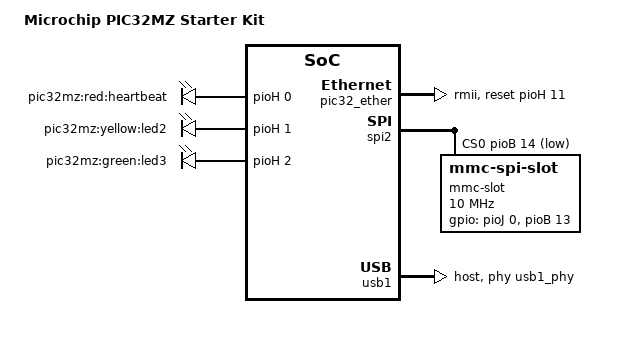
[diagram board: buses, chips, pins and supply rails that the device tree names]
/dts-v1/;
#include <dt-bindings/interrupt-controller/microchip,pic32mz-evic.h>

#include "pic32mz-clk.dtsi"
#include "pic32mz-timer.dtsi"
#include "pic32mz-pland-oc.dtsi"
#include "pic32mz-pland-pinctrl.dtsi"
#include "pic32mz-pland-uart.dtsi"
#include "pic32mz-pland-i2c.dtsi"
#include "pic32mz-pland-i2s.dtsi"

/ {
	#address-cells = <1>;
	#size-cells = <1>;
	compatible = "mti,pic32";
	model = "Microchip PIC32MZ Starter Kit";
	interrupt-parent = <&evic>;

	aliases {
		usb1 = &usb1;
		usb1_phy = &usb1_phy;
		spi1 = &spi1;
		spi2 = &spi2;
		spi7 = &sqi1;
	};

	cpus {
		cpu@0 {
			compatible = "mips,mips14KEc";
		};
	};

	chosen {
		bootargs = "console=ttyS1,115200n8";
	};

	evic: interrupt-controller@bf810000 {
		compatible = "microchip,evic-v2";
		interrupt-controller;
		#interrupt-cells = <3>;
		reg = <0xbf810000 0x1000>;
		device_type="evic-v2";
	};

	pwm_1 {
		compatible = "microchip,pic32-pwm";
		microchip,timer = <&PBTIMER23>; /* pbtimer phandle */
		microchip,ocmp = <&OCMP1>; /* ocmp phandle */
		pinctrl-names = "default";
		pinctrl-0 = <&pinctrl_oc1>;
		status = "ok";
	};

	pwm_2 {
		compatible = "microchip,pic32-pwm";
		microchip,timer = <&PBTIMER23>;
		microchip,ocmp = <&OCMP2>;
		pinctrl-names = "default";
		pinctrl-0 = <&pinctrl_oc2>;
		status = "ok";
	};

	pwm_3 {
		compatible = "microchip,pic32-pwm";
		microchip,timer = <&PBTIMER23>;
		microchip,ocmp = <&OCMP3>;
		pinctrl-names = "default";
		pinctrl-0 = <&pinctrl_oc3>;
		status = "ok";
	};

	pwm_4 {
		compatible = "microchip,pic32-pwm";
		microchip,timer = <&PBTIMER23>;
		microchip,ocmp = <&OCMP4>;
		pinctrl-names = "default";
		pinctrl-0 = <&pinctrl_oc4>;
		status = "ok";
	};

	pwm_5 {
		compatible = "microchip,pic32-pwm";
		microchip,timer = <&PBTIMER23>;
		microchip,ocmp = <&OCMP5>;
		pinctrl-names = "default";
		pinctrl-0 = <&pinctrl_oc5>;
		status = "ok";

	};

	pwm_6 {
		compatible = "microchip,pic32-pwm";
		microchip,timer = <&PBTIMER23>;
		microchip,ocmp = <&OCMP6>;
		pinctrl-names = "default";
		pinctrl-0 = <&pinctrl_oc6>;
		status = "disabled";
	};

	pwm_7 {
		compatible = "microchip,pic32-pwm";
		microchip,timer = <&PBTIMER23>;
		microchip,ocmp = <&OCMP7>;
		pinctrl-names = "default";
		pinctrl-0 = <&pinctrl_oc7>;
		status = "ok";
	};

	pwm_8 {
		compatible = "microchip,pic32-pwm";
		microchip,timer = <&PBTIMER23>;
		microchip,ocmp = <&OCMP8>;
		pinctrl-names = "default";
		pinctrl-0 = <&pinctrl_oc8>;
		status = "disabled";
	};

	pwm_9 {
		compatible = "microchip,pic32-pwm";
		microchip,timer = <&PBTIMER23>;
		microchip,ocmp = <&OCMP9>;
		pinctrl-names = "default";
		pinctrl-0 = <&pinctrl_oc9>;
		status = "disabled";
	};

	rtc0@bf800c00 {
		compatible = "microchip,pic32-rtc";
		reg = <0xbf800c00 0x60>;
		interrupts = <REAL_TIME_CLOCK DEFAULT_INT_PRI IRQ_TYPE_EDGE_RISING>;
		clocks = <&RTCCLK>;
	};

	pic32_ether: ethernet@bf882000 {
		compatible = "microchip,pic32-ether";
		reg = <0xbf882000 0x1000>;
		interrupts = <ETHERNET_INTERRUPT DEFAULT_INT_PRI IRQ_TYPE_LEVEL_HIGH>;
		phy-mode = "rmii";
		mac-address = [00 00 00 00 00 00];
		clock-names = "eth_clk";
		clocks = <&PBCLK5>;
		pinctrl-names = "default";
		pinctrl-0 = <&pinctrl_eth0>;
		reset-gpio = <&pioH 11 0>;
	};

	watchdog: wdt@bf800800 {
		compatible = "microchip,pic32-wdt";
		reg = <0xbf800800 0x200>;
		clocks = <&LPRC>;
	};

	watchdog2: dmt@bf800a00 {
		compatible = "microchip,pic32-dmt";
		reg = <0xbf800a00 0x80>;
		clocks = <&PBCLK7>;
	};

	dma: dma-controller@bf811000 {
		compatible = "microchip,pic32-dma";
		reg = <0xbf811000 0x2000>;
		interrupts = <DMA_CHANNEL_0 DEFAULT_INT_PRI IRQ_TYPE_EDGE_RISING>,
			<DMA_CHANNEL_1 DEFAULT_INT_PRI IRQ_TYPE_EDGE_RISING>,
			<DMA_CHANNEL_2 DEFAULT_INT_PRI IRQ_TYPE_EDGE_RISING>,
			<DMA_CHANNEL_3 DEFAULT_INT_PRI IRQ_TYPE_EDGE_RISING>,
			<DMA_CHANNEL_4 DEFAULT_INT_PRI IRQ_TYPE_EDGE_RISING>,
			<DMA_CHANNEL_5 DEFAULT_INT_PRI IRQ_TYPE_EDGE_RISING>,
			<DMA_CHANNEL_6 DEFAULT_INT_PRI IRQ_TYPE_EDGE_RISING>,
			<DMA_CHANNEL_7 DEFAULT_INT_PRI IRQ_TYPE_EDGE_RISING>;
		#dma-cells = <1>;
	};

	rng0: rng@bf8e6000 {
		compatible = "microchip,pic32-rng";
		reg = <0xbf8e6000 0x1000>;
		clocks = <&PBCLK5>;
	};

	sound0 {
		compatible = "microchip,snd-pic32-proto";

		microchip,cpu-dai = <&i2s1 &i2s1>;
		microchip,audio-codec = <&wm8731>;
		status = "ok";
	};

	sound1 {
		compatible = "microchip,snd-pic32-ak4953a";

		microchip,cpu-dai = <&i2s1 &i2s1>;
		microchip,audio-codec = <&ak4953a>;
		status = "disabled";
	};

	sqi1:sqi@0xbf8e2000 {
		#address-cells = <1>;
		#size-cells = <0>;
		compatible = "microchip,pic32-sqi";
		reg = <0xbf8e2000 0x200>;
		clocks = <&REFCLKO2>, <&PBCLK5>;
		clock-names = "spi_ck","reg_ck";
		interrupt-parent = <&evic>;
		interrupts = <SQI1_EVENT DEFAULT_INT_PRI IRQ_TYPE_LEVEL_HIGH>;
		pinctrl-names = "default";
		pinctrl-0 = <&pinctrl_sqi1>;
#if 0
		/* Michigan */
		microchip,sqi-v1;
#endif
		status = "disabled";

		quadflash:m25p80@0 {
			#address-cells = <1>;
			#size-cells = <0>;
			compatible = "sst26vf032b","m25p80";
			m25p,fast-read;
			spi-max-frequency = <25000000>;
			spi-rx-bus-width = <4>;
			spi-tx-bus-width = <4>;
			reg = <1>;
		};
	};

	spi1:spi@0xbf821000 {
		#address-cells = <1>;
		#size-cells = <0>;
		compatible = "microchip,pic32-spi";
		reg = <0xbf821000 0x200>;
		interrupt-parent = <&evic>;
		interrupts = <SPI1_FAULT DEFAULT_INT_PRI IRQ_TYPE_LEVEL_HIGH>,
			     <SPI1_RECEIVE_DONE DEFAULT_INT_PRI IRQ_TYPE_LEVEL_HIGH>,
			     <SPI1_TRANSFER_DONE DEFAULT_INT_PRI IRQ_TYPE_LEVEL_HIGH>;
		interrupt-names = "fault","rx","tx";
		pinctrl-names = "default";
		pinctrl-0 = <&pinctrl_spi1>;
		cs-gpios = <&pioD 4 0>; /* #gpio-cells = <2>, first cell is pin# and second one unused */
		clocks = <&PBCLK2>,<&REFCLKO1>;
		clock-names = "mck0","mck1";
	        dmas = <&dma DMA_CHANNEL_0>,
                       <&dma DMA_CHANNEL_1>;
                dma-names = "spi-rx", "spi-tx";
		status = "disabled";

		flash: m25p80@0 {
			#address-cells = <1>;
			#size-cells = <0>;
			compatible = "sst25vf064c","m25p80";
			spi-cpol;
			spi-cpha;
			spi-max-frequency = <25000000>;
			reg = <0>;
			m25p,fast-read;
			status = "disabled";
		};

		mmc-slot@0 {
			compatible = "mmc-spi-slot";
			reg = <0>;
			voltage-ranges = <3300 3300>;
			spi-max-frequency = <10000000>;
			gpios = <&pioJ 0 0 /* Card Detect */
				 &pioB 13 0 /* Write Protect*/
				>;
			status = "disabled";
		};
	};

	spi2:spi@0xbf821200 {
		#address-cells = <1>;
		#size-cells = <0>;
		compatible = "microchip,pic32-spi";
		reg = <0xbf821200 0x200>;
		interrupt-parent = <&evic>;
		interrupts = <SPI2_FAULT DEFAULT_INT_PRI IRQ_TYPE_LEVEL_HIGH>,
			     <SPI2_RECEIVE_DONE DEFAULT_INT_PRI IRQ_TYPE_LEVEL_HIGH>,
			     <SPI2_TRANSFER_DONE DEFAULT_INT_PRI IRQ_TYPE_LEVEL_HIGH>;
		interrupt-names = "fault","rx","tx";
		pinctrl-names = "default";
		pinctrl-0 = <&pinctrl_spi2>;
		cs-gpios = <&pioB 14 1>; /* #gpio-cells = <2>, first cell is pin# and second one unused */
		clocks = <&PBCLK2>,<&REFCLKO1>;
		clock-names = "mck0","mck1";
	        dmas = <&dma DMA_CHANNEL_2>,
                       <&dma DMA_CHANNEL_3>;
                dma-names = "spi-rx", "spi-tx";

		mmc-slot@0 {
			compatible = "mmc-spi-slot";
			reg = <0>;
			voltage-ranges = <3300 3300>;
			spi-max-frequency = <10000000>;
			gpios = <&pioJ 0 0 /* Card Detect */
				 &pioB 13 0 /* Write Protect*/
				>;
			status = "ok";
		};
	};

	clk-test {
		compatible = "microchip,pic32-clk-test";
		clocks = <&PBCLK2>;
		microchip,pic32-refclk-test;
		microchip,pic32-pb2clk-test;
		microchip,pic32-sclk-test;
		microchip,pic32-spll-test;
		status = "disabled";
	};

	usb1: usb@bf8e3000 {
		compatible = "microchip,pic32-usb";
		reg = <0xbf8e3000 0x1000>;
		reg-names = "mc";
		interrupts = <USB_GENERAL_EVENT DEFAULT_INT_PRI IRQ_TYPE_LEVEL_HIGH>,
				<USB_DMA_EVENT DEFAULT_INT_PRI IRQ_TYPE_LEVEL_HIGH>;
		interrupt-names = "mc", "dma", "over_current";
		dr_mode = "host";
		mentor,multipoint = <1>;
		mentor,num-eps = <8>;
		mentor,ram-bits = <11>;
		mentor,power = <500>;
		microchip,fifo-mode = <1>;
		phys = <&usb1_phy>;
		clocks = <&PBCLK5>;
		clock-names = "usb_clk";
		/*clock-frequency = <24000000>;*/
		pinctrl-names = "default";
		pinctrl-0 = <
			&pinctrl_usb1_vbus
			&pinctrl_usb1_usbid>;

		/* VBUS_ON */
		vbus_on-gpios = <&pioB 5 0>;
		usb_id-gpios = <&pioF 3 0>;

		usb_overcurrent@0 {
			interrupt-parent = <&pioB>;
			interrupts = <2 PIC32_CN_FALLING>; /* GPIO_B_2 */
		};

		usb_id_pin@0 {
			interrupt-parent = <&pioF>;
			interrupts = <3 PIC32_CN_FALLING>; /* GPIO_F_3 */
		};
	};
	usb1_phy: hsusb1_phy@0 {
		compatible = "usb-nop-xceiv";
		reg = <0xbf8e4000 0x1000>;
		clocks = <&UPLL>;
		clock-names = "main_clk";
		clock-frequency = <24000000>;
	};

	leds {
                pinctrl-names = "default";
                pinctrl-0 = <&user_leds_s0>;

                compatible = "gpio-leds";

                led@1 {
                        label = "pic32mz:red:heartbeat";
                        gpios = <&pioH 0 GPIO_ACTIVE_HIGH>;
                        linux,default-trigger = "heartbeat";
                        default-state = "off";
                };

                led@2 {
                        label = "pic32mz:yellow:led2";
                        gpios = <&pioH 1 GPIO_ACTIVE_HIGH>;
                        default-state = "on";
                };

                led@3 {
                        label = "pic32mz:green:led3";
                        gpios = <&pioH 2 GPIO_ACTIVE_HIGH>;
                        default-state = "on";
                };

	};
};
